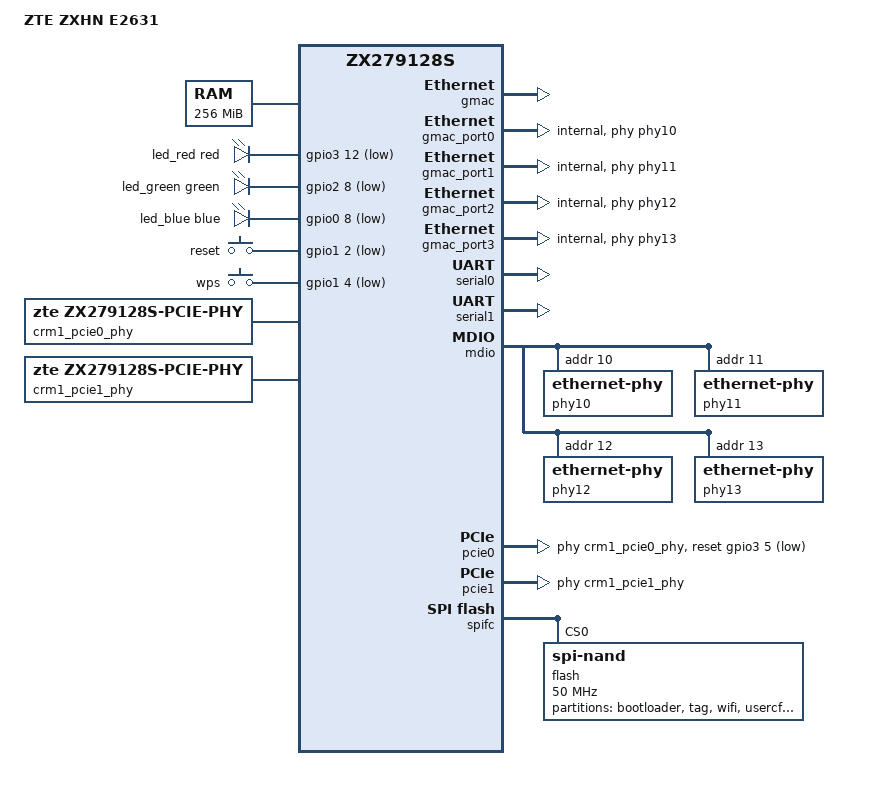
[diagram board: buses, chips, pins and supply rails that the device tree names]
// SPDX-License-Identifier: GPL-2.0-only OR BSD-2-Clause
/*
 * ZTE ZXHN E2631 (a.k.a. 巡天 AX3000): dual-band Wi-Fi 6 router on the
 * Sanechips ZX279128(S/R) SoC, 256 MiB DDR, 128 MiB SPI NAND, one WAN and
 * three LAN ports, all served by the four integrated GbE PHYs.
 *
 * Hardware facts below were read off a live board (2026-10-13) and are marked
 * with where they came from. Values still needing confirmation on first boot
 * are called out in comments - do not treat them as measured.
 */

/dts-v1/;

#include "zte/zx279128s.dtsi"
#include <dt-bindings/gpio/gpio.h>
#include <dt-bindings/input/input.h>
#include <dt-bindings/leds/common.h>

/ {
	model = "ZTE ZXHN E2631";
	compatible = "zte,zxhn-e2631", "zte,zx279128s";

	aliases {
		ethernet0 = &gmac;
		serial0 = &serial0;
		serial1 = &serial1;
		led-boot = &led_red;
		led-failsafe = &led_red;
		led-running = &led_green;
		led-upgrade = &led_blue;
	};

	chosen {
		stdout-path = "serial0:115200n8";
	};

	memory@40000000 {
		device_type = "memory";
		/* /proc/capability/boardtype: totalram 256M; vendor cmdline mem=256M */
		reg = <0x40000000 0x10000000>;
	};


	leds {
		compatible = "gpio-leds";

		/*
		 * One tri-colour lamp, three channels, on flat GPIO 8 / 40 / 60
		 * (/proc/zte/ledkey_m/led LedId 0x32 / 0x64 / 0x128; flat =
		 * controller*16 + line, six banks of 16 lines, bases 512..592 confirmed in
		 * our own kernel).
		 *
		 * The colours were measured, not inferred: each channel was blinked on its
		 * own for twelve seconds with this image running while the panel was
		 * watched. 40 came out green, 60 a warm yellow-green (the red die, with the
		 * strong green bleeding through the diffuser), 8 cyan-blue:
		 *
		 *   flat 40 = green    flat 60 = red    flat 8 = blue
		 *
		 * All three are active-low. Writing brightness=1 to the green channel left
		 * the panel dark, and the other two lit while the LED class held them low,
		 * which also matches the sibling H3600 (eleven LEDs, all active-low). The
		 * vendor's CurrentOnOff column is its own logical state, not a pin level -
		 * and levels cannot be read back to check, because reading these bank
		 * registers from the vendor system hangs the SoC and the watchdog reboots
		 * the box (measured 2026-10-13).
		 *
		 * What the stock firmware does with them, from its manual:
		 *   red   solid = up but no internet,  blinking = booting or faulty
		 *   green solid = internet up,         blinking = WPS/MESH key pressed
		 *   blue  solid = MESH satellite, weak signal
		 *   all three blinking = software upgrade
		 * The aliases below keep the boot/fault meaning intact, and differ where it
		 * is useful: procd runs a slow heartbeat on green once the system is up
		 * (stock shows solid green) and an upgrade blinks blue alone instead of all
		 * three, so the two systems are tellable at a glance.
		 */
		led_red: led-red {
			color = <LED_COLOR_ID_RED>;
			function = LED_FUNCTION_STATUS;
			gpios = <&gpio3 12 GPIO_ACTIVE_LOW>;
			default-state = "off";
		};

		led_green: led-green {
			color = <LED_COLOR_ID_GREEN>;
			function = LED_FUNCTION_WAN_ONLINE;
			gpios = <&gpio2 8 GPIO_ACTIVE_LOW>;
			default-state = "off";
		};

		led_blue: led-blue {
			color = <LED_COLOR_ID_BLUE>;
			function = LED_FUNCTION_STATUS;
			gpios = <&gpio0 8 GPIO_ACTIVE_LOW>;
			default-state = "off";
		};
	};

	keys {
		/* Polled on purpose: the ZTE GPIO IRQ chip is unvalidated on this
		 * family and a gpio-keys irq-mode probe locked the H3600 up.
		 * Vendor key table (/proc/zte/ledkey_m/key): flat GPIO 18 and 20.
		 */
		compatible = "gpio-keys-polled";
		poll-interval = <50>;

		key-reset {
			label = "reset";
			gpios = <&gpio1 2 GPIO_ACTIVE_LOW>;
			linux,code = <KEY_RESTART>;
		};

		key-wps {
			label = "wps";
			gpios = <&gpio1 4 GPIO_ACTIVE_LOW>;
			linux,code = <KEY_WPS_BUTTON>;
		};
	};
};

/*
 * Port mapping read from the running vendor system,
 * /proc/capability/ethernetmac (PhyMnf "ZTE" on all four => no external PHY,
 * unlike the H3600 which hangs its WAN off a ZX5201 at MDIO address 8):
 *
 *   eth0 -> switch port 3   not in br0, PROMISC uplink  = WAN
 *   eth1 -> switch port 2   in br0                      = LAN
 *   eth2 -> switch port 1   in br0                      = LAN
 *   eth3 -> switch port 0   in br0                      = LAN
 *
 * The MDIO addresses of the four integrated PHYs are taken from the H3600
 * board file (0xa..0xd) and are UNVERIFIED on this board. Confirm on first
 * boot from our own kernel - "ls /sys/bus/mdio_bus/devices" must show
 * 0-000a..0-000d, and each must report the sanechips GbPHY id - before this
 * ships. Never probe MDIO by poking the controller under the vendor system:
 * writing CMD/STATUS there reset the board within seconds.
 */
&gmac {
	status = "okay";
};

/*
 * The gmac driver takes each port's MAC from its own node (it calls
 * of_get_mac_address() per port, zx279128s-main.c:1236) and nothing referenced
 * the nvmem cell below, so without these four lines every port boots with a new
 * random locally-administered address.
 *
 * The cell is the same one the vendor uses: tag + 0x1e read out of a dump of
 * that partition is f8:73:1a:d3:ef:a8, and on the running vendor system that one
 * address is what br0, eth0 and eth1..eth3 all report. The vendor therefore uses
 * a single MAC for every port; the upstream H3600 board file hands base+0 to the
 * LAN ports and base+1 to the WAN, and that is what is done here, because two
 * interfaces on one bridge with one address is a recipe for a flapping network.
 */
&gmac_port0 {
	label = "lan3";
	phy-handle = <&phy10>;
	phy-mode = "internal";
	nvmem-cells = <&macaddr_tag_1e 0>;
	nvmem-cell-names = "mac-address";
	status = "okay";
};

&gmac_port1 {
	label = "lan2";
	phy-handle = <&phy11>;
	phy-mode = "internal";
	nvmem-cells = <&macaddr_tag_1e 0>;
	nvmem-cell-names = "mac-address";
	status = "okay";
};

&gmac_port2 {
	label = "lan1";
	phy-handle = <&phy12>;
	phy-mode = "internal";
	nvmem-cells = <&macaddr_tag_1e 0>;
	nvmem-cell-names = "mac-address";
	status = "okay";
};

&gmac_port3 {
	label = "wan";
	phy-handle = <&phy13>;
	phy-mode = "internal";
	nvmem-cells = <&macaddr_tag_1e 1>;
	nvmem-cell-names = "mac-address";
	status = "okay";
};

/* Only four ports are wired on this board; the SoC offers a fifth. */
&gmac_port4 {
	status = "disabled";
};

/*
 * The SoC include ships both UARTs with status = "disabled", and the aliases +
 * chosen/stdout-path above do NOT enable them - they only name them. Without
 * these two lines there is no ttyAMA0 at all, so the forced
 * "console=ttyAMA0,115200n8" points at a device that never exists and the
 * kernel goes silent the moment U-Boot says "Starting kernel ..." (measured:
 * the first boot printed nothing on the TTL pin and logged
 * "Warning: unable to open an initial console"). The carrier firmware for this
 * family enables both as well.
 */
&serial0 {
	status = "okay";
};

&serial1 {
	status = "okay";
};

&mdio {
	status = "okay";

	phy10: ethernet-phy@a {
		reg = <10>;
	};

	phy11: ethernet-phy@b {
		reg = <11>;
	};

	phy12: ethernet-phy@c {
		reg = <12>;
	};

	phy13: ethernet-phy@d {
		reg = <13>;
	};
};

/*
 * MT7916 dual-band Wi-Fi 6 (vendor lsmod: mt7916, out of tree; the calibration
 * file in the "wifi" partition starts with 16 79 = chip id 0x7916 and is the
 * only file there, 0x30000 bytes, mounted by the vendor at /wlan).
 *
 * One package behind both PCIe controllers, as on the H3600, whose vendor
 * driver is the same MediaTek code family. The H3600 board file names the two
 * board lines - reset on &gpio3 5 (active low) and enable on &gpio3 7 (active
 * high) - and drives them once, from pcie0 only, because they reset the whole
 * MT7915/MT7916 rather than one link. host_init's order is: reset asserted 100
 * ms, released, then enable asserted, 200 ms, before the PHY is initialised.
 * Without enable the chip stays powered down, so a missing endpoint looks
 * exactly like a PHY bring-up failure; try that line first.
 */
&pcie0 {
	reset-gpios = <&gpio3 5 GPIO_ACTIVE_LOW>;
	enable-gpios = <&gpio3 7 GPIO_ACTIVE_HIGH>;
	phys = <&crm1_pcie0_phy>;
	phy-names = "pcie";
	status = "okay";
};

&pcie1 {
	phys = <&crm1_pcie1_phy>;
	phy-names = "pcie";
	status = "okay";
};

/*
 * Why the two PCIe PHYs and the reboot node live here and not where the SoC
 * include puts them - measured on the first boot of this board:
 *
 * clk-zx279128s.c registers "zte,zx279128s-topcrm" with CLK_OF_DECLARE, so
 * of_clk_init() claims /soc/clock-controller@94000000 during early boot and
 * marks it OF_POPULATED. of_platform_bus_create() bails on an OF_POPULATED node
 * *before* descending, so no struct device is ever created for topcrm and none of
 * its children are instantiated. Observed consequence:
 *
 *   /sys/bus/platform/drivers/zx279128s-pcie-phy  -> no device, /sys/class/phy empty
 *   /sys/kernel/debug/devices_deferred -> f000000.pcie "failed to get pcie phy"
 *                                          f100000.pcie "failed to get pcie phy"
 *   /sys/bus/platform/drivers/syscon-reboot       -> no device, so no restart handler
 *
 * i.e. no Wi-Fi and no way to reboot in software. The same trick is used upstream
 * for other ZTE SoCs: give the block a second handle that /soc can populate. The
 * syscon driver binds it ("syscon"), the bus walk descends ("simple-mfd"), and
 * both drivers here find their register range through their parent device's node
 * (syscon_node_to_regmap(dev->parent->of_node)), which is this one.
 *
 * /soc carries no label in the SoC file, so this merges by path instead.
 */
/ {
	soc {
		crm1: syscon@94000000 {
			compatible = "syscon", "simple-mfd";
			reg = <0x94000000 0x1000>;
			#address-cells = <1>;
			#size-cells = <0>;

			reboot {
				compatible = "syscon-reboot";
				offset = <0x44>;
				mask = <0x1>;
				value = <0x1>;
			};

			crm1_pcie0_phy: phy@0 {
				compatible = "zte,zx279128s-pcie-phy";
				reg = <0>;
				#phy-cells = <0>;
			};

			crm1_pcie1_phy: phy@1 {
				compatible = "zte,zx279128s-pcie-phy";
				reg = <1>;
				#phy-cells = <0>;
			};
		};
	};
};

/* No USB on this board: the vendor kernel ships "# CONFIG USB is not set" and
 * on some E2631 units the controller is not populated at all - probing it
 * hangs the SoC and the watchdog reboots. Leave both nodes disabled.
 */
&usb {
	status = "disabled";
};

&spifc {
	status = "okay";

	flash@0 {
		compatible = "spi-nand";
		reg = <0>;
		spi-max-frequency = <50000000>;
		spi-rx-bus-width = <2>;
		spi-tx-bus-width = <1>;

		/* HYF1GQ4UTACAE: 128 MiB, 2 KiB pages, 128 KiB erase blocks */
		partitions {
			/*
			 * zx279128s-slotpart (v1.4): this table is the SLOT-1
			 * layout, and cspboot picks the boot slot by version
			 * header serial - the two systems swap in place. The
			 * parser reads both slot headers at parse time and, on
			 * a slot-0 boot, moves rootfs and slot1-header into
			 * slot 0 (same row count, same labels, so root=
			 * keeps pointing at the same mtdblock). Every failure
			 * keeps this table. See
			 * files/drivers/mtd/parsers/zx279128s-slotpart.c.
			 */
			compatible = "zte,zx279128s-slotpart";
			#address-cells = <1>;
			#size-cells = <1>;

			/* slot geometry the parser re-derives the boot slot
			 * from; bases are the two whole-system windows, the
			 * deltas are inside-slot: rootfs at +0x400000 (forced
			 * by cspboot's ceil(kSize/erasesize) lookup), the
			 * version header at +0x1400000.
			 */
			zte,slot0 = <0x00700000 0x01c00000>;
			zte,slot1 = <0x02300000 0x01c00000>;
			zte,fs-delta = <0x00400000>;
			zte,hdr-delta = <0x01400000>;

			partition@0 {
				label = "bootloader";
				reg = <0x0000000 0x0100000>;
				read-only;
			};

			partition@100000 {
				label = "tag";
				reg = <0x0100000 0x0100000>;
				read-only;

				nvmem-layout {
					compatible = "fixed-layout";
					#address-cells = <1>;
					#size-cells = <1>;

					/* LAN MAC; WAN uses the next one (H3600 convention,
					 * verify against the vendor web UI before shipping)
					 */
					macaddr_tag_1e: macaddr@1e {
						compatible = "mac-base";
						reg = <0x1e 0x6>;
						#nvmem-cell-cells = <1>;
					};
				};
			};

			partition@200000 {
				label = "wifi";
				reg = <0x0200000 0x0100000>;
			};

			partition@300000 {
				label = "usercfg";
				reg = <0x0300000 0x0200000>;
				read-only;
			};

			partition@500000 {
				label = "defcfg";
				reg = <0x0500000 0x0200000>;
				read-only;
			};

			/*
			 * The system lives in two whole-image slots, declared by every
			 * official upgrade package (header +0x4c/+0x5c) and confirmed by
			 * /proc/zte/verinfo/versionstates: 0x700000..0x2300000 and
			 * 0x2300000..0x3f00000, 28 MiB each. Slot 0 keeps the vendor
			 * system; OpenWrt is installed into slot 1, so that
			 * "e2631-fwslot switch" can boot the vendor side again without
			 * rewriting a byte of it.
			 *
			 * rootfs and slot1-header are windows into slot1, the same way the
			 * vendor table overlaps "rootfs" inside "kernel1". They stay flat on
			 * purpose: mainline ofpart only looks for sub-partitions when the
			 * partition node itself carries "compatible = fixed-partitions", and
			 * then their offsets are relative. One flat table keeps every address
			 * an absolute flash offset, which is also what e2631-fwslot matches
			 * against /sys/class/mtd/mtdN/offset.
			 *
			 * Inside slot 1 our package is laid out as
			 *   +0x000000  32-byte slot marker
			 *   +0x000020  kernel (plaintext legacy uImage, load 0x40008000),
			 *                padded to fill the region up to +0x400000
			 *   +0x400000  squashfs, then free space up to +0x1400000
			 *   +0x1400000 the 512-byte version header block
			 *
			 * +0x400000 is not a free choice. cspboot locates the rootfs as
			 * "slot + ceil(declared kernel size / 128k)" and ignores the header's
			 * own rootfs offset (proved on the serial console: a kernel of
			 * 0x34bdf8 made it read slot+0x360000, rejected the CRC and fell back
			 * to slot 0). The packer therefore declares the padded kernel extent
			 * 0x3fffe0, whose rounded-up value is exactly +0x400000, which is also
			 * why KERNEL_SIZE is capped at 4096k: a kernel that outgrows this
			 * region must fail the build, not move the rootfs under the table.
			 *
			 * The 16 MiB rootfs window is what the web UI costs: with LuCI in the
			 * image the squashfs is around 8 MiB, and the kernel splits the erase
			 * blocks behind it off as the writable "rootfs_data" (measured on the
			 * first boot: "1 squashfs-split partitions found on MTD device
			 * rootfs"), so the overlay is whatever is left of this window - about
			 * 8 MiB. There is deliberately no "rootfs_data" partition here:
			 * declaring one would only add a second partition of that name, which
			 * fstools silently prefers over the split. The version header block
			 * has to sit outside the window for the same reason: the header's
			 * rootfs checksum covers +0x400000..+0x400000+rSize, so the overlay
			 * must never be in it - with the first image it was, and the very
			 * first config save made the slot unreadable to the bootloader.
			 *
			 * The space behind the header block (+0x1420000 to the end of the
			 * slot, ~11.9 MiB) is left unpartitioned on purpose: it is reachable
			 * through "slot1", and the packer pads it, so nothing can write it by
			 * accident. Making "rootfs" reach it instead would put the version
			 * header inside the overlay.
			 *
			 * Those fixed addresses hold only while no erase block of
			 * [slot start, +0x1400000) is bad; e2631-fwslot checks that and
			 * refuses to write when it is not.
			 */
			partition@700000 {
				label = "slot0";
				/* Deliberately not read-only: switching back to the stock
				 * firmware rewrites the version header inside this slot, and
				 * "read-only" masks MTD_WRITEABLE off the partition, which
				 * would make that impossible. e2631-fwslot refuses to flash
				 * into slot 0 instead.
				 */
				reg = <0x00700000 0x01c00000>;
			};

			partition@2300000 {
				label = "slot1";
				reg = <0x02300000 0x01c00000>;
			};

			partition@2700000 {
				/* squashfs at its start, overlay after it: see above */
				label = "rootfs";
				reg = <0x02700000 0x01000000>;
			};

			partition@3700000 {
				label = "slot1-header";
				reg = <0x03700000 0x00020000>;
				read-only;
			};

			/* Independent 47 MiB NAND data area, behind both image
			 * slots. Safe by three independent lines of evidence
			 * (2026-10-24): every official upgrade package from
			 * V1.0.0.4B4 (2023) through V1.0.0.8B8 (2026) carries
			 * the same slot table and the stock upgrader only ever
			 * erases 0x2300000..0x3f00000; the stock kernel's own
			 * /proc/mtd declares nothing beyond 0x2fc0000; and the
			 * full programmer dump shows 0x3cc0000..0x72c0000
			 * erased on this unit (the first used block beyond the
			 * window is at 0x72c0000). Used as an optional UBI/
			 * UBIFS extroot for /overlay - the activation gate in
			 * /etc/init.d/e2631-userdata only lets a volume that
			 * already carries a UBIFS superblock take over.
			 */
			partition@3f00000 {
				label = "userdata";
				reg = <0x03f00000 0x02f00000>;
			};

			/* Vendor plugin area: 0x6e00000..0x7f00000 on this board. Left
			 * alone; it is AES-128-ECB at rest and only readable through the
			 * vendor kernel.
			 */
		};
	};
};

/* Serialize PL310 cache maintenance with protected PCIe MMIO reads; the
 * option and the DTS flag both come from the base tree (patch 004/005,
 * CONFIG_CACHE_L2X0_IO_LOCK=y is already in the target config).  Confirmed
 * live by tigaotg: "L2C: serializing device reads with maintenance
 * operations" on the console.
 */
&l2cc {
	zte,l2c-io-read-lock;
};
